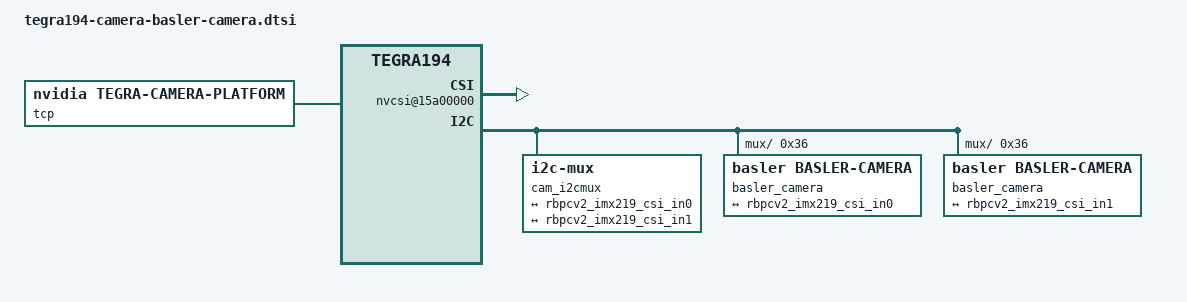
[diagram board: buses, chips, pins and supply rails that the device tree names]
/*
 * Copyright (c) 2018-2020, NVIDIA CORPORATION.  All rights reserved.
 *
 * This program is free software; you can redistribute it and/or modify
 * it under the terms of the GNU General Public License as published by
 * the Free Software Foundation; either version 2 of the License, or
 * (at your option) any later version.
 *
 * This program is distributed in the hope that it will be useful, but WITHOUT
 * ANY WARRANTY; without even the implied warranty of MERCHANTABILITY or
 * FITNESS FOR A PARTICULAR PURPOSE.  See the GNU General Public License for
 * more details.
 *
 * You should have received a copy of the GNU General Public License
 * along with this program.  If not, see <http://www.gnu.org/licenses/>.
 */
#include <dt-bindings/media/camera.h>

/ {
	host1x {
		vi@15c10000  {
			status = "okay";
			num-channels = <2>;
			ports {
				#address-cells = <1>;
				#size-cells = <0>;
				vi_port0: port@0 {
					status = "okay";
					reg = <0>;
					rbpcv2_imx219_vi_in0: endpoint {
						status = "okay";
						port-index = <0>;
						bus-width = <2>;
						remote-endpoint = <&rbpcv2_imx219_csi_out0>;
					};
				};
				vi_port1: port@1 {
					status = "okay";
					reg = <1>;
					rbpcv2_imx219_vi_in1: endpoint {
						status = "okay";
						port-index = <2>;
						bus-width = <2>;
						remote-endpoint = <&rbpcv2_imx219_csi_out1>;
					};
				};
			};
		};

		nvcsi@15a00000 {
			status = "okay";
			num-channels = <2>;
			#address-cells = <1>;
			#size-cells = <0>;
			csi_chan0: channel@0 {
				status = "okay";
				reg = <0>;
				ports {
					#address-cells = <1>;
					#size-cells = <0>;
					csi_chan0_port0: port@0 {
						status = "okay";
						reg = <0>;
						rbpcv2_imx219_csi_in0: endpoint@0 {
							status = "okay";
							port-index = <0>;
							bus-width = <2>;
							remote-endpoint = <&basler_camera_out0>;
						};
					};
					csi_chan0_port1: port@1 {
						status = "okay";
						reg = <1>;
						rbpcv2_imx219_csi_out0: endpoint@1 {
							status = "okay";
							remote-endpoint = <&rbpcv2_imx219_vi_in0>;
						};
					};
				};
			};
			csi_chan1: channel@1 {
				status = "okay";
				reg = <1>;
				ports {
					#address-cells = <1>;
					#size-cells = <0>;
					csi_chan1_port0: port@0 {
						status = "okay";
						reg = <0>;
						rbpcv2_imx219_csi_in1: endpoint@2 {
							status = "okay";
							port-index = <2>;
							bus-width = <2>;
							remote-endpoint = <&basler_camera_out1>;
						};
					};
					csi_chan1_port1: port@1 {
						status = "okay";
						reg = <1>;
						rbpcv2_imx219_csi_out1: endpoint@3 {
							status = "okay";
							remote-endpoint = <&rbpcv2_imx219_vi_in1>;
						};
					};
				};
			};
		};
	};

	cam_i2cmux {
		i2c_0:i2c@0 {
			basler_camera@36 {
				compatible = "basler,basler-camera";
				/* I2C device address */
				reg = <0x36>;

				/* V4L2 device node location */
				devnode = "video0";

				status = "okay";

				/* Physical dimensions of sensor */
				physical_w = "3.680";
				physical_h = "2.760";

				sensor_model = "basler-mcm";

				ports {
					#address-cells = <1>;
					#size-cells = <0>;
					port@0 {
						reg = <0>;
						basler_camera_out0: endpoint {
							port-index = <0>;
							bus-width = <2>;
							remote-endpoint = <&rbpcv2_imx219_csi_in0>;
							data-lanes = <1 2>;
							clock-lanes = <0>;
							link-frequencies = /bits/ 64 <600000000>;
						};
					};
				};
			};
		};
		i2c_1: i2c@1 {
			basler_camera@36 {
				compatible = "basler,basler-camera";
				/* I2C device address */
				reg = <0x36>;

				/* V4L2 device node location */
				devnode = "video1";

				status = "okay";

				/* Physical dimensions of sensor */
				physical_w = "3.680";
				physical_h = "2.760";

				sensor_model = "basler-mcm";

				ports {
					#address-cells = <1>;
					#size-cells = <0>;
					port@0 {
						reg = <0>;

						basler_camera_out1: endpoint {
							port-index = <2>;
							bus-width = <2>;
							remote-endpoint = <&rbpcv2_imx219_csi_in1>;
							data-lanes = <1 2>;
							clock-lanes = <0>;
							link-frequencies = /bits/ 64 <600000000>;
						};
					};
				};
			};
		};
	};

	lens_imx219@RBPCV2 {
		min_focus_distance = "0.0";
		hyper_focal = "0.0";
		focal_length = "3.04";
		f_number = "2.0";
		aperture = "0.0";
	};
};
/ {
	tcp: tegra-camera-platform {
		compatible = "nvidia, tegra-camera-platform";
		/**
		* Physical settings to calculate max ISO BW
		*
		* num_csi_lanes = <>;
		* Total number of CSI lanes when all cameras are active
		*
		* max_lane_speed = <>;
		* Max lane speed in Kbit/s
		*
		* min_bits_per_pixel = <>;
		* Min bits per pixel
		*
		* vi_peak_byte_per_pixel = <>;
		* Max byte per pixel for the VI ISO case
		*
		* vi_bw_margin_pct = <>;
		* Vi bandwidth margin in percentage
		*
		* max_pixel_rate = <>;
		* Max pixel rate in Kpixel/s for the ISP ISO case
		*
		* isp_peak_byte_per_pixel = <>;
		* Max byte per pixel for the ISP ISO case
		*
		* isp_bw_margin_pct = <>;
		* Isp bandwidth margin in percentage
		*/
		status = "okay";
		num_csi_lanes = <4>;
		max_lane_speed = <1500000>;
		min_bits_per_pixel = <10>;
		vi_peak_byte_per_pixel = <2>;
		vi_bw_margin_pct = <25>;
		max_pixel_rate = <240000>;
		isp_peak_byte_per_pixel = <5>;
		isp_bw_margin_pct = <25>;

		/**
		 * The general guideline for naming badge_info contains 3 parts, and is as follows,
		 * The first part is the camera_board_id for the module; if the module is in a FFD
		 * platform, then use the platform name for this part.
		 * The second part contains the position of the module, ex. "rear" or "front".
		 * The third part contains the last 6 characters of a part number which is found
		 * in the module's specsheet from the vendor.
		 */
		modules {
			cam_module0: module0 {
				status = "okay";
				badge = "jakku_front_RBP194";
				position = "front";
				orientation = "1";
				cam_module0_drivernode0: drivernode0 {
					status = "okay";
					pcl_id = "v4l2_sensor";
					devname = "basler-camera 9-0036";
					proc-device-tree = "/proc/device-tree/cam_i2cmux/i2c@0/basler_camera@36";
				};
				cam_module0_drivernode1: drivernode1 {
					status = "okay";
					pcl_id = "v4l2_lens";
					proc-device-tree = "/proc/device-tree/lens_imx219@RBPCV2/";
				};
			};
			cam_module1: module1 {
				status = "okay";
				badge = "jakku_rear_RBP194";
				position = "rear";
				orientation = "1";
				cam_module1_drivernode0: drivernode0 {
					status = "okay";
					pcl_id = "v4l2_sensor";
					devname = "basler-camera 10-0036";
					proc-device-tree = "/proc/device-tree/cam_i2cmux/i2c@1/basler_camera@36";
				};
				cam_module1_drivernode1: drivernode1 {
					status = "okay";
					pcl_id = "v4l2_lens";
					proc-device-tree = "/proc/device-tree/lens_imx219@RBPCV2/";
				};
			};
		};
	};
};
